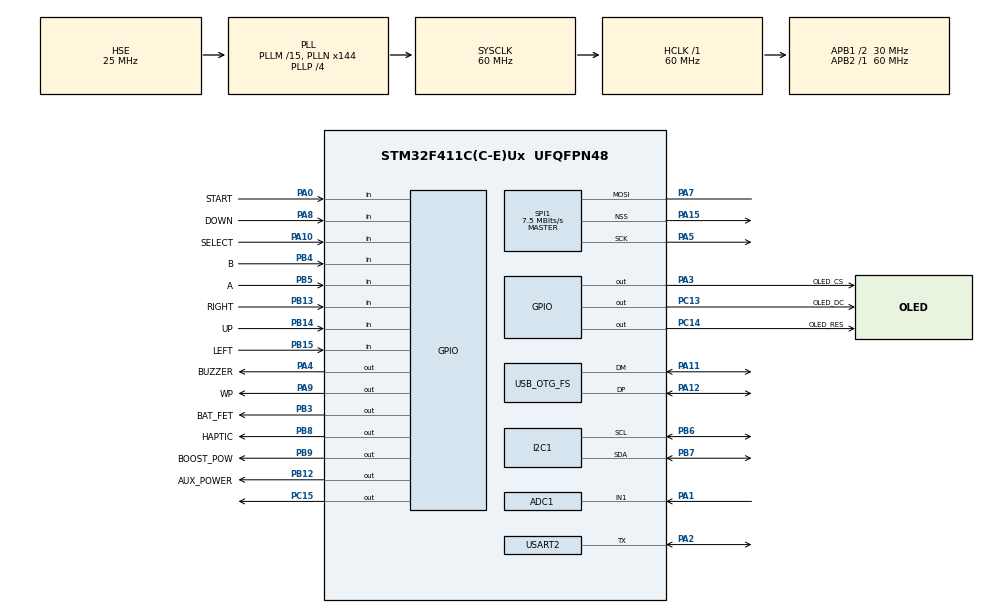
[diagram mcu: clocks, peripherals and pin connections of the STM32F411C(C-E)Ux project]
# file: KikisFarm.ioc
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ADC1.Channel-1\#ChannelRegularConversion=ADC_CHANNEL_1
ADC1.NbrOfConversionFlag=1
ADC1.Rank-1\#ChannelRegularConversion=1
ADC1.SamplingTime-1\#ChannelRegularConversion=ADC_SAMPLETIME_3CYCLES
ADC1.master=1
Mcu.Family=STM32F4
Mcu.Name=STM32F411C(C-E)Ux
Mcu.Package=UFQFPN48
NVIC.PriorityGroup=NVIC_PRIORITYGROUP_4
NVIC.SPI1_IRQn=true\:0\:0\:false\:false\:true\:true\:true\:true
PA0-WKUP.GPIO_Label=START
PA0-WKUP.Signal=GPIO_Input
PA1.Signal=ADCx_IN1
PA10.GPIO_Label=SELECT
PA10.Signal=GPIO_Input
PA11.Mode=Host_Only
PA11.Signal=USB_OTG_FS_DM
PA12.Mode=Host_Only
PA12.Signal=USB_OTG_FS_DP
PA13.Mode=Serial_Wire
PA13.Signal=SYS_JTMS-SWDIO
PA14.Mode=Serial_Wire
PA14.Signal=SYS_JTCK-SWCLK
PA15.Mode=NSS_Signal_Hard_Output
PA15.Signal=SPI1_NSS
PA2.Mode=Half_duplex(single_wire_mode)
PA2.Signal=USART2_TX
PA3.GPIO_Label=OLED_CS
PA3.Signal=GPIO_Output
PA4.GPIO_Label=BUZZER
PA4.Signal=GPIO_Output
PA5.Mode=Simplex_Bidirectional_Master
PA5.Signal=SPI1_SCK
PA7.Mode=Simplex_Bidirectional_Master
PA7.Signal=SPI1_MOSI
PA8.GPIO_Label=DOWN
PA8.Signal=GPIO_Input
PA9.GPIO_Label=WP
PA9.Signal=GPIO_Output
PB12.GPIO_Label=AUX_POWER
PB12.Signal=GPIO_Output
PB13.GPIO_Label=RIGHT
PB13.Signal=GPIO_Input
PB14.GPIO_Label=UP
PB14.Signal=GPIO_Input
PB15.GPIO_Label=LEFT
PB15.Signal=GPIO_Input
PB3.GPIO_Label=BAT_FET
PB3.Signal=GPIO_Output
PB4.GPIO_Label=B
PB4.Signal=GPIO_Input
PB5.GPIO_Label=A
PB5.Signal=GPIO_Input
PB6.Mode=I2C
PB6.Signal=I2C1_SCL
PB7.Mode=I2C
PB7.Signal=I2C1_SDA
PB8.GPIO_Label=HAPTIC
PB8.Signal=GPIO_Output
PB9.GPIO_Label=BOOST_POW
PB9.Signal=GPIO_Output
PC13-ANTI_TAMP.GPIO_Label=OLED_DC
PC13-ANTI_TAMP.Signal=GPIO_Output
PC14-OSC32_IN.GPIO_Label=OLED_RES
PC14-OSC32_IN.Signal=GPIO_Output
PC15-OSC32_OUT.Signal=GPIO_Output
PH0\ -\ OSC_IN.Mode=HSE-External-Oscillator
PH0\ -\ OSC_IN.Signal=RCC_OSC_IN
PH1\ -\ OSC_OUT.Mode=HSE-External-Oscillator
PH1\ -\ OSC_OUT.Signal=RCC_OSC_OUT
ProjectManager.HeapSize=0x200
ProjectManager.StackSize=0x400
ProjectManager.TargetToolchain=STM32CubeIDE
RCC.48MHZClocksFreq_Value=48000000
RCC.AHBFreq_Value=60000000
RCC.APB1CLKDivider=RCC_HCLK_DIV2
RCC.APB1Freq_Value=30000000
RCC.APB1TimFreq_Value=60000000
RCC.APB2Freq_Value=60000000
RCC.APB2TimFreq_Value=60000000
RCC.CortexFreq_Value=60000000
RCC.HCLKFreq_Value=60000000
RCC.HSE_VALUE=25000000
RCC.HSI_VALUE=16000000
RCC.LSE_VALUE=32768
RCC.PLLM=15
RCC.PLLN=144
RCC.PLLP=RCC_PLLP_DIV4
RCC.PLLQ=5
RCC.SYSCLKFreq_VALUE=60000000
RCC.SYSCLKSource=RCC_SYSCLKSOURCE_PLLCLK
RCC.VCOOutputFreq_Value=240000000
SH.ADCx_IN1.0=ADC1_IN1,IN1
SPI1.BaudRatePrescaler=SPI_BAUDRATEPRESCALER_8
SPI1.CalculateBaudRate=7.5 MBits/s
SPI1.Direction=SPI_DIRECTION_1LINE
SPI1.Mode=SPI_MODE_MASTER
SPI1.VirtualNSS=VM_NSSHARD
SPI1.VirtualType=VM_MASTER
TIM1.Prescaler=24
TIM3.Channel-Output\ Compare1\ No\ Output=TIM_CHANNEL_1
USART2.VirtualMode=VM_ASYNC
USB_OTG_FS.VirtualMode=Host_Only
USB_OTG_FS.phy_itface=HCD_PHY_EMBEDDED
VP_TIM1_VS_ClockSourceINT.Mode=Internal
VP_TIM3_VS_no_output1.Mode=Output Compare1 No Output
board=custom

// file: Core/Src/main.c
/* USER CODE BEGIN Header */
/**
  ******************************************************************************
  *	Kiki's Farm Code
  *	Sebastian Forenza
  *	2025
  *
  *	LEFT TO DO:
  *
  *	-money tree stays fruited
  *
  *	CODE CLEANING:
  *	-make just 2 pointer/nonpointer return functions
  *	-make buttons better
  *	-give things their own files instead of all being in game.c
  *
  ******************************************************************************
  */
/* USER CODE END Header */
#include "main.h"

/* USER CODE BEGIN Includes */
#include "stm32f4xx_hal.h"
#include "ssd1306.h"
#include "ssd1306_fonts.h"
#include "ee24.h"
#include "sprites.h"
#include "game.h"
#include "title.h"
#include "crop.h"
#include "shop.h"
#include "orchard.h"
#include "crop_house.h"
/* USER CODE END Includes */

/* USER CODE BEGIN PTD */
EE24_HandleTypeDef hee24;
/* USER CODE END PTD */

ADC_HandleTypeDef hadc1;

I2C_HandleTypeDef hi2c1;

SPI_HandleTypeDef hspi1;

TIM_HandleTypeDef htim1;
TIM_HandleTypeDef htim3;

UART_HandleTypeDef huart2;

HCD_HandleTypeDef hhcd_USB_OTG_FS;

void SystemClock_Config(void);
static void MX_GPIO_Init(void);
static void MX_I2C1_Init(void);
static void MX_SPI1_Init(void);
static void MX_USART2_UART_Init(void);
static void MX_USB_OTG_FS_HCD_Init(void);
static void MX_TIM3_Init(void);
static void MX_ADC1_Init(void);
static void MX_TIM1_Init(void);

/* USER CODE BEGIN 0 */

int chargePercentage(double adcValue) {
    // Apply the formula: 123 - 123 / ((1 + (v / 3.7)^80)^0.165)
    double base = adcValue / 3.7;
    double exponent = pow(base, 80);
    double denominator = pow((1 + exponent), 0.165);
    double percentage = 123 - 123 / denominator;

    // Ensure percentage is within 0 to 100 range and convert to int
    if (percentage < 0) percentage = 0;
    if (percentage > 100) percentage = 100;

    return (int)percentage;
}

int chargeVoltage(double adcValue){
	   float measuredVoltage = (adcValue / 4095.0f) * 3.3f;
	   float batteryVoltage = measuredVoltage * 1.51f;

	    int voltageHundred = (int)(batteryVoltage * 100 + 0.5f);
	    return voltageHundred;
}

// Returns battery voltage * 100 (e.g., 345 for 3.45V)
int updateBatteryLife(void){
    const int NUM_SAMPLES = 4;
    uint32_t totalAdc = 0;

    // Take several ADC samples to smooth the reading.
    for (int i = 0; i < NUM_SAMPLES; i++) {
        HAL_GPIO_WritePin(GPIOB, BAT_FET_Pin, 1);
        HAL_ADC_Start(&hadc1);
        HAL_ADC_PollForConversion(&hadc1, HAL_MAX_DELAY);
        totalAdc += HAL_ADC_GetValue(&hadc1);
        HAL_ADC_Stop(&hadc1);
        // Optionally, add a short delay between samples (e.g., HAL_Delay(10));
    }

    // Average the ADC readings
    uint32_t avgAdc = totalAdc / NUM_SAMPLES;
    float measuredVoltage = (avgAdc / 4095.0f) * 3.3f;
    float batteryVoltage = measuredVoltage * 1.51f; // in volts

    // Calculate battery percentage using your custom function
    int newVal = chargePercentage(batteryVoltage);

    // Ensure that once a battery percentage is displayed, we never show a higher value.
    // (Assumes batteryPercent is a global variable that holds the last displayed percentage.)
    if (batteryPercent == 0) {
        // On first measurement, initialize batteryPercent.
        batteryPercent = newVal;
    }
    if (newVal > batteryPercent) {
        newVal = batteryPercent;
    } else {
        batteryPercent = newVal;
    }

    if(batteryPercent >= 100){
    	batteryPercent = 99;
    }

    while (batteryPercent < 5){
    	ssd1306_Fill(Black);
        ssd1306_SetCursor(31, 22);
        ssd1306_WriteString("battery low", Font_6x8, White);
        ssd1306_SetCursor(31, 34);
        ssd1306_WriteString("plug in now", Font_6x8, White);
        ssd1306_UpdateScreen();
    }

    return newVal;
}

void buzzer(uint16_t frequency, uint32_t duration)
{
    // Get system clock frequency.
    uint32_t sysClock = HAL_RCC_GetSysClockFreq();
    // Calculate timer frequency (assuming timer is configured with a prescaler).
    uint32_t timerFreq = sysClock / (htim1.Init.Prescaler + 1);
    // Calculate half period in timer ticks.
    uint32_t halfPeriodTicks = (timerFreq / frequency) / 2;
    // Calculate the total number of cycles to run (duration is in ms).
    uint32_t cycles = (duration * frequency) / 1000;

    for (uint32_t i = 0; i < cycles; i++) {
        if (soundOn)
            HAL_GPIO_TogglePin(GPIOA, BUZZER_Pin);
        __HAL_TIM_SET_COUNTER(&htim1, 0); // Reset timer counter.
        while (__HAL_TIM_GET_COUNTER(&htim1) < halfPeriodTicks);

        if (soundOn)
            HAL_GPIO_TogglePin(GPIOA, BUZZER_Pin);
        __HAL_TIM_SET_COUNTER(&htim1, 0);
        while (__HAL_TIM_GET_COUNTER(&htim1) < halfPeriodTicks);
    }

    HAL_GPIO_WritePin(GPIOA, BUZZER_Pin, GPIO_PIN_RESET); // Ensure buzzer is off.
}

/* USER CODE END 0 */

int main(void)
{

  /* MCU Configuration--------------------------------------------------------*/

  /* Reset of all peripherals, Initializes the Flash interface and the Systick. */
  HAL_Init();

  /* Configure the system clock */
  SystemClock_Config();

  /* USER CODE BEGIN SysInit */
  HAL_Delay(50);
  /* USER CODE END SysInit */

  /* Initialize all configured peripherals */
  MX_GPIO_Init();
  MX_I2C1_Init();
  MX_SPI1_Init();
  MX_USART2_UART_Init();
  MX_USB_OTG_FS_HCD_Init();
  MX_TIM3_Init();
  MX_ADC1_Init();
  MX_TIM1_Init();
  /* USER CODE BEGIN 2 */
  HAL_TIM_Base_Start(&htim1);  // Start TIM1 for the buzzer function

  HAL_GPIO_WritePin(GPIOB, BOOST_POW_Pin, 1);
  HAL_GPIO_WritePin(GPIOB, AUX_POWER_Pin, 1);

  HAL_Delay(5);

  ssd1306_Init();
  ssd1306_Fill(Black);        // Clear the screen
  ssd1306_DrawBitmap(0, 0, TitleWorldSprite, 128, 64, White);
  ssd1306_UpdateScreen();

  HAL_GPIO_WritePin(WP_GPIO_Port, WP_Pin, 0);

  EE24_Init(&hee24, &hi2c1, EE24_ADDRESS_DEFAULT);

  player.inWorld = TITLE;

  /* USER CODE END 2 */

  /* Infinite loop */
  while (1)
  {

    /* USER CODE BEGIN 3 */
	  // Process the game state
	  updateBatteryLife();

	  switch (player.inWorld) {
	  case TITLE:
		  handleTitle();
		  break;
	  case CROP:
		  handleCrop();
		  break;
	  case SHOP:
		  handleShop();
		  break;
	  case CROPHOUSE:
		  handleCropHouse();
		  break;
	  case ORCHARD:
		  handleOrchard();
		  break;
	  default:
		  player.inWorld = TITLE;
		  break;
          }
  }
  /* USER CODE END 3 */
}

void SystemClock_Config(void)
{
  RCC_OscInitTypeDef RCC_OscInitStruct = {0};
  RCC_ClkInitTypeDef RCC_ClkInitStruct = {0};

  /** Configure the main internal regulator output voltage
  */
  __HAL_RCC_PWR_CLK_ENABLE();
  __HAL_PWR_VOLTAGESCALING_CONFIG(PWR_REGULATOR_VOLTAGE_SCALE1);

  /** Initializes the RCC Oscillators according to the specified parameters
  * in the RCC_OscInitTypeDef structure.
  */
  RCC_OscInitStruct.OscillatorType = RCC_OSCILLATORTYPE_HSE;
  RCC_OscInitStruct.HSEState = RCC_HSE_ON;
  RCC_OscInitStruct.PLL.PLLState = RCC_PLL_ON;
  RCC_OscInitStruct.PLL.PLLSource = RCC_PLLSOURCE_HSE;
  RCC_OscInitStruct.PLL.PLLM = 15;
  RCC_OscInitStruct.PLL.PLLN = 144;
  RCC_OscInitStruct.PLL.PLLP = RCC_PLLP_DIV4;
  RCC_OscInitStruct.PLL.PLLQ = 5;
  if (HAL_RCC_OscConfig(&RCC_OscInitStruct) != HAL_OK)
  {
    Error_Handler();
  }

  /** Initializes the CPU, AHB and APB buses clocks
  */
  RCC_ClkInitStruct.ClockType = RCC_CLOCKTYPE_HCLK|RCC_CLOCKTYPE_SYSCLK
                              |RCC_CLOCKTYPE_PCLK1|RCC_CLOCKTYPE_PCLK2;
  RCC_ClkInitStruct.SYSCLKSource = RCC_SYSCLKSOURCE_PLLCLK;
  RCC_ClkInitStruct.AHBCLKDivider = RCC_SYSCLK_DIV1;
  RCC_ClkInitStruct.APB1CLKDivider = RCC_HCLK_DIV2;
  RCC_ClkInitStruct.APB2CLKDivider = RCC_HCLK_DIV1;

  if (HAL_RCC_ClockConfig(&RCC_ClkInitStruct, FLASH_LATENCY_1) != HAL_OK)
  {
    Error_Handler();
  }
}

static void MX_ADC1_Init(void)
{

  ADC_ChannelConfTypeDef sConfig = {0};

  /** Configure the global features of the ADC (Clock, Resolution, Data Alignment and number of conversion)
  */
  hadc1.Instance = ADC1;
  hadc1.Init.ClockPrescaler = ADC_CLOCK_SYNC_PCLK_DIV2;
  hadc1.Init.Resolution = ADC_RESOLUTION_12B;
  hadc1.Init.ScanConvMode = DISABLE;
  hadc1.Init.ContinuousConvMode = DISABLE;
  hadc1.Init.DiscontinuousConvMode = DISABLE;
  hadc1.Init.ExternalTrigConvEdge = ADC_EXTERNALTRIGCONVEDGE_NONE;
  hadc1.Init.ExternalTrigConv = ADC_SOFTWARE_START;
  hadc1.Init.DataAlign = ADC_DATAALIGN_RIGHT;
  hadc1.Init.NbrOfConversion = 1;
  hadc1.Init.DMAContinuousRequests = DISABLE;
  hadc1.Init.EOCSelection = ADC_EOC_SINGLE_CONV;
  if (HAL_ADC_Init(&hadc1) != HAL_OK)
  {
    Error_Handler();
  }

  /** Configure for the selected ADC regular channel its corresponding rank in the sequencer and its sample time.
  */
  sConfig.Channel = ADC_CHANNEL_1;
  sConfig.Rank = 1;
  sConfig.SamplingTime = ADC_SAMPLETIME_3CYCLES;
  if (HAL_ADC_ConfigChannel(&hadc1, &sConfig) != HAL_OK)
  {
    Error_Handler();
  }

}

static void MX_I2C1_Init(void)
{

  hi2c1.Instance = I2C1;
  hi2c1.Init.ClockSpeed = 100000;
  hi2c1.Init.DutyCycle = I2C_DUTYCYCLE_2;
  hi2c1.Init.OwnAddress1 = 0;
  hi2c1.Init.AddressingMode = I2C_ADDRESSINGMODE_7BIT;
  hi2c1.Init.DualAddressMode = I2C_DUALADDRESS_DISABLE;
  hi2c1.Init.OwnAddress2 = 0;
  hi2c1.Init.GeneralCallMode = I2C_GENERALCALL_DISABLE;
  hi2c1.Init.NoStretchMode = I2C_NOSTRETCH_DISABLE;
  if (HAL_I2C_Init(&hi2c1) != HAL_OK)
  {
    Error_Handler();
  }

}

static void MX_SPI1_Init(void)
{

  /* SPI1 parameter configuration*/
  hspi1.Instance = SPI1;
  hspi1.Init.Mode = SPI_MODE_MASTER;
  hspi1.Init.Direction = SPI_DIRECTION_1LINE;
  hspi1.Init.DataSize = SPI_DATASIZE_8BIT;
  hspi1.Init.CLKPolarity = SPI_POLARITY_LOW;
  hspi1.Init.CLKPhase = SPI_PHASE_1EDGE;
  hspi1.Init.NSS = SPI_NSS_HARD_OUTPUT;
  hspi1.Init.BaudRatePrescaler = SPI_BAUDRATEPRESCALER_8;
  hspi1.Init.FirstBit = SPI_FIRSTBIT_MSB;
  hspi1.Init.TIMode = SPI_TIMODE_DISABLE;
  hspi1.Init.CRCCalculation = SPI_CRCCALCULATION_DISABLE;
  hspi1.Init.CRCPolynomial = 10;
  if (HAL_SPI_Init(&hspi1) != HAL_OK)
  {
    Error_Handler();
  }

}

static void MX_TIM1_Init(void)
{

  TIM_ClockConfigTypeDef sClockSourceConfig = {0};
  TIM_MasterConfigTypeDef sMasterConfig = {0};

  htim1.Instance = TIM1;
  htim1.Init.Prescaler = 24;
  htim1.Init.CounterMode = TIM_COUNTERMODE_UP;
  htim1.Init.Period = 65535;
  htim1.Init.ClockDivision = TIM_CLOCKDIVISION_DIV1;
  htim1.Init.RepetitionCounter = 0;
  htim1.Init.AutoReloadPreload = TIM_AUTORELOAD_PRELOAD_DISABLE;
  if (HAL_TIM_Base_Init(&htim1) != HAL_OK)
  {
    Error_Handler();
  }
  sClockSourceConfig.ClockSource = TIM_CLOCKSOURCE_INTERNAL;
  if (HAL_TIM_ConfigClockSource(&htim1, &sClockSourceConfig) != HAL_OK)
  {
    Error_Handler();
  }
  sMasterConfig.MasterOutputTrigger = TIM_TRGO_RESET;
  sMasterConfig.MasterSlaveMode = TIM_MASTERSLAVEMODE_DISABLE;
  if (HAL_TIMEx_MasterConfigSynchronization(&htim1, &sMasterConfig) != HAL_OK)
  {
    Error_Handler();
  }

}

static void MX_TIM3_Init(void)
{

  TIM_MasterConfigTypeDef sMasterConfig = {0};
  TIM_OC_InitTypeDef sConfigOC = {0};

  htim3.Instance = TIM3;
  htim3.Init.Prescaler = 0;
  htim3.Init.CounterMode = TIM_COUNTERMODE_UP;
  htim3.Init.Period = 65535;
  htim3.Init.ClockDivision = TIM_CLOCKDIVISION_DIV1;
  htim3.Init.AutoReloadPreload = TIM_AUTORELOAD_PRELOAD_DISABLE;
  if (HAL_TIM_OC_Init(&htim3) != HAL_OK)
  {
    Error_Handler();
  }
  sMasterConfig.MasterOutputTrigger = TIM_TRGO_RESET;
  sMasterConfig.MasterSlaveMode = TIM_MASTERSLAVEMODE_DISABLE;
  if (HAL_TIMEx_MasterConfigSynchronization(&htim3, &sMasterConfig) != HAL_OK)
  {
    Error_Handler();
  }
  sConfigOC.OCMode = TIM_OCMODE_TIMING;
  sConfigOC.Pulse = 0;
  sConfigOC.OCPolarity = TIM_OCPOLARITY_HIGH;
  sConfigOC.OCFastMode = TIM_OCFAST_DISABLE;
  if (HAL_TIM_OC_ConfigChannel(&htim3, &sConfigOC, TIM_CHANNEL_1) != HAL_OK)
  {
    Error_Handler();
  }

}

static void MX_USART2_UART_Init(void)
{

  huart2.Instance = USART2;
  huart2.Init.BaudRate = 115200;
  huart2.Init.WordLength = UART_WORDLENGTH_8B;
  huart2.Init.StopBits = UART_STOPBITS_1;
  huart2.Init.Parity = UART_PARITY_NONE;
  huart2.Init.Mode = UART_MODE_TX_RX;
  huart2.Init.HwFlowCtl = UART_HWCONTROL_NONE;
  huart2.Init.OverSampling = UART_OVERSAMPLING_16;
  if (HAL_HalfDuplex_Init(&huart2) != HAL_OK)
  {
    Error_Handler();
  }

}

static void MX_USB_OTG_FS_HCD_Init(void)
{

  hhcd_USB_OTG_FS.Instance = USB_OTG_FS;
  hhcd_USB_OTG_FS.Init.Host_channels = 8;
  hhcd_USB_OTG_FS.Init.speed = HCD_SPEED_FULL;
  hhcd_USB_OTG_FS.Init.dma_enable = DISABLE;
  hhcd_USB_OTG_FS.Init.phy_itface = HCD_PHY_EMBEDDED;
  hhcd_USB_OTG_FS.Init.Sof_enable = DISABLE;
  if (HAL_HCD_Init(&hhcd_USB_OTG_FS) != HAL_OK)
  {
    Error_Handler();
  }

}

static void MX_GPIO_Init(void)
{
  GPIO_InitTypeDef GPIO_InitStruct = {0};

  /* GPIO Ports Clock Enable */
  __HAL_RCC_GPIOC_CLK_ENABLE();
  __HAL_RCC_GPIOH_CLK_ENABLE();
  __HAL_RCC_GPIOA_CLK_ENABLE();
  __HAL_RCC_GPIOB_CLK_ENABLE();

  /*Configure GPIO pin Output Level */
  HAL_GPIO_WritePin(GPIOC, OLED_DC_Pin|OLED_RES_Pin|GPIO_PIN_15, GPIO_PIN_RESET);

  /*Configure GPIO pin Output Level */
  HAL_GPIO_WritePin(GPIOA, OLED_CS_Pin|BUZZER_Pin|WP_Pin, GPIO_PIN_RESET);

  /*Configure GPIO pin Output Level */
  HAL_GPIO_WritePin(GPIOB, AUX_POWER_Pin|BAT_FET_Pin|HAPTIC_Pin|BOOST_POW_Pin, GPIO_PIN_RESET);

  /*Configure GPIO pins : OLED_DC_Pin OLED_RES_Pin PC15 */
  GPIO_InitStruct.Pin = OLED_DC_Pin|OLED_RES_Pin|GPIO_PIN_15;
  GPIO_InitStruct.Mode = GPIO_MODE_OUTPUT_PP;
  GPIO_InitStruct.Pull = GPIO_NOPULL;
  GPIO_InitStruct.Speed = GPIO_SPEED_FREQ_LOW;
  HAL_GPIO_Init(GPIOC, &GPIO_InitStruct);

  /*Configure GPIO pins : START_Pin DOWN_Pin SELECT_Pin */
  GPIO_InitStruct.Pin = START_Pin|DOWN_Pin|SELECT_Pin;
  GPIO_InitStruct.Mode = GPIO_MODE_INPUT;
  GPIO_InitStruct.Pull = GPIO_NOPULL;
  HAL_GPIO_Init(GPIOA, &GPIO_InitStruct);

  /*Configure GPIO pins : OLED_CS_Pin BUZZER_Pin WP_Pin */
  GPIO_InitStruct.Pin = OLED_CS_Pin|BUZZER_Pin|WP_Pin;
  GPIO_InitStruct.Mode = GPIO_MODE_OUTPUT_PP;
  GPIO_InitStruct.Pull = GPIO_NOPULL;
  GPIO_InitStruct.Speed = GPIO_SPEED_FREQ_LOW;
  HAL_GPIO_Init(GPIOA, &GPIO_InitStruct);

  /*Configure GPIO pins : AUX_POWER_Pin BAT_FET_Pin HAPTIC_Pin BOOST_POW_Pin */
  GPIO_InitStruct.Pin = AUX_POWER_Pin|BAT_FET_Pin|HAPTIC_Pin|BOOST_POW_Pin;
  GPIO_InitStruct.Mode = GPIO_MODE_OUTPUT_PP;
  GPIO_InitStruct.Pull = GPIO_NOPULL;
  GPIO_InitStruct.Speed = GPIO_SPEED_FREQ_LOW;
  HAL_GPIO_Init(GPIOB, &GPIO_InitStruct);

  /*Configure GPIO pins : RIGHT_Pin UP_Pin LEFT_Pin B_Pin
                           A_Pin */
  GPIO_InitStruct.Pin = RIGHT_Pin|UP_Pin|LEFT_Pin|B_Pin
                          |A_Pin;
  GPIO_InitStruct.Mode = GPIO_MODE_INPUT;
  GPIO_InitStruct.Pull = GPIO_NOPULL;
  HAL_GPIO_Init(GPIOB, &GPIO_InitStruct);

}

void Error_Handler(void)
{
  __disable_irq();
  while (1)
  {
  }
}
